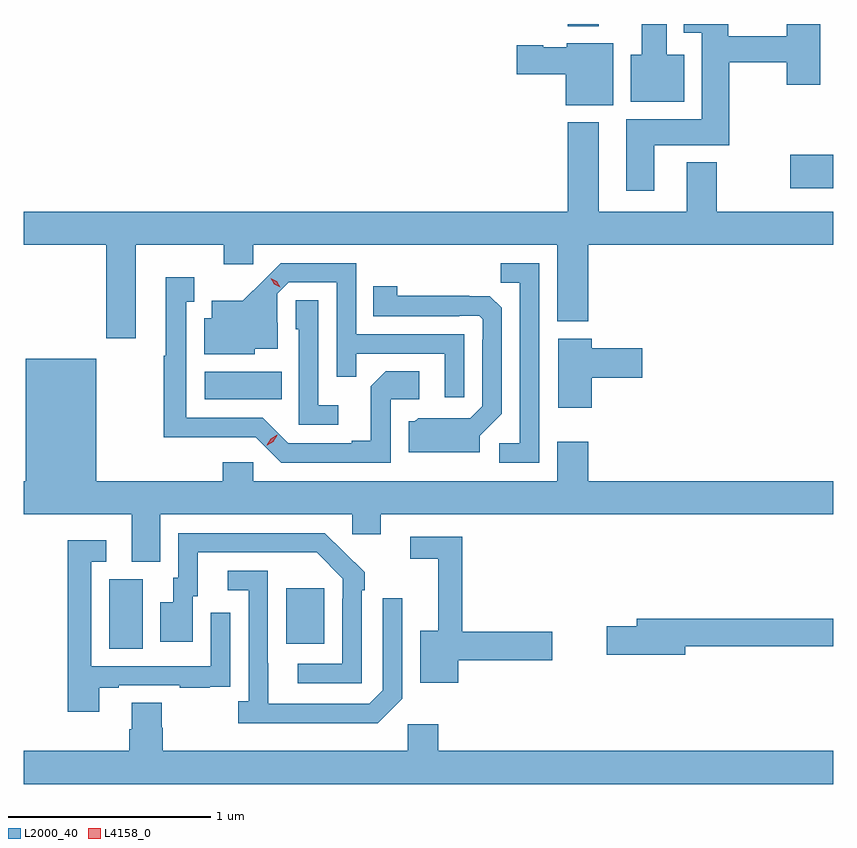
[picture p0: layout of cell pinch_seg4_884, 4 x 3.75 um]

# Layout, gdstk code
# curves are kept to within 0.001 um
import gdstk
lib = gdstk.Library(unit=1e-6, precision=1e-09)
def R(c, l, rs):  # rectangles x0, y0, x1, y1
    for r in rs: c.add(gdstk.rectangle(r[:2], r[2:], *l))
def P(c, l, *ps):  # polygons
    for p in ps: c.add(gdstk.Polygon(p, *l))
L2000_40 = (2000, 40)
L4158_0 = (4158, 0)

pinch_seg4_884 = lib.new_cell('pinch_seg4_884')
R(pinch_seg4_884, L2000_40, [(705.446,829.456,705.61,829.8), (706.319,829.481,706.507,829.756), (705.918,830.69,706.298,830.824), (708.81,831.731,709.023,831.897), (707.711,832.532,707.863,832.543)])
P(pinch_seg4_884, L2000_40, [(708.139,831.944),(708.509,831.944),(708.509,832.354),(708.793,832.354),(708.793,832.242),(708.958,832.242),(708.958,832.543),(708.793,832.543),(708.793,832.483),(708.504,832.483),(708.504,832.543),(708.284,832.543),(708.284,832.499),(708.374,832.499),(708.374,832.072),(707.999,832.072),(707.999,831.72),(708.139,831.72)],
  [(708.286,832.39),(708.199,832.39),(708.199,832.543),(708.077,832.543),(708.077,832.39),(708.023,832.39),(708.023,832.16),(708.286,832.16)],
  [(707.935,832.447),(707.706,832.447),(707.706,832.429),(707.589,832.429),(707.589,832.437),(707.46,832.437),(707.46,832.295),(707.702,832.295),(707.702,832.142),(707.935,832.142)],
  [(705.577,831.452),(706.012,831.452),(706.012,831.357),(706.158,831.357),(706.158,831.452),(707.66,831.452),(707.66,831.074),(707.813,831.074),(707.813,831.452),(709.023,831.452),(709.023,831.616),(708.447,831.616),(708.447,831.859),(708.299,831.859),(708.299,831.616),(707.863,831.616),(707.863,832.057),(707.711,832.057),(707.711,831.616),(705.023,831.616),(705.023,831.452),(705.43,831.452),(705.43,830.991),(705.577,830.991)],
  [(707.571,831.36),(707.38,831.36),(707.38,831.265),(707.475,831.265),(707.475,830.472),(707.373,830.472),(707.373,830.376),(707.571,830.376)],
  [(707.199,831.009),(706.665,831.009),(706.665,831.36),(706.292,831.36),(706.105,831.175),(705.953,831.175),(705.953,831.088),(705.914,831.088),(705.914,830.912),(706.164,830.912),(706.164,830.939),(706.279,830.939),(706.279,831.068),(706.275,831.068),(706.275,831.21),(706.332,831.267),(706.569,831.267),(706.569,830.8),(706.667,830.8),(706.667,830.913),(707.103,830.913),(707.103,830.7),(707.199,830.7)],
  [(706.836,830.688),(706.978,830.688),(706.978,830.828),(706.813,830.828),(706.737,830.752),(706.737,830.485),(706.643,830.485),(706.643,830.472),(706.329,830.472),(706.203,830.598),(705.826,830.598),(705.826,831.171),(705.865,831.171),(705.865,831.292),(705.725,831.292),(705.725,830.903),(705.715,830.903),(705.715,830.501),(706.17,830.502),(706.296,830.376),(706.836,830.376)],
  [(707.275,830.508),(707.385,830.618),(707.385,831.14),(707.326,831.199),(706.869,831.2),(706.869,831.247),(706.75,831.247),(706.75,831.099),(707.174,831.099),(707.174,831.102),(707.274,831.102),(707.292,831.084),(707.292,830.984),(707.289,830.984),(707.289,830.655),(707.229,830.595),(706.972,830.596),(706.956,830.58),(706.925,830.58),(706.925,830.426),(707.275,830.426)],
  [(706.576,830.659),(706.479,830.659),(706.479,831.179),(706.368,831.179),(706.368,831.036),(706.383,831.036),(706.383,830.562),(706.576,830.562)],
  [(707.83,830.795),(708.079,830.795),(708.079,830.942),(707.83,830.942),(707.83,830.989),(707.663,830.989),(707.663,830.646),(707.83,830.646)],
  [(705.697,830.12),(706.647,830.12),(706.647,830.022),(706.786,830.022),(706.786,830.12),(709.023,830.12),(709.023,830.284),(707.813,830.284),(707.813,830.479),(707.66,830.479),(707.66,830.284),(706.158,830.284),(706.158,830.377),(706.007,830.377),(706.007,830.284),(705.382,830.284),(705.382,830.89),(705.032,830.89),(705.032,830.284),(705.023,830.284),(705.023,830.12),(705.557,830.12),(705.557,829.885),(705.697,829.885)],
  [(706.692,829.745),(706.707,829.745),(706.707,829.833),(706.51,830.028),(705.786,830.028),(705.786,829.806),(705.761,829.806),(705.761,829.687),(705.698,829.687),(705.698,829.491),(705.859,829.491),(705.859,829.716),(705.883,829.716),(705.883,829.932),(706.471,829.932),(706.599,829.803),(706.599,829.703),(706.596,829.703),(706.596,829.383),(706.377,829.383),(706.377,829.287),(706.692,829.287)],
  [(707.17,829.399),(707.635,829.399),(707.635,829.541),(707.189,829.541),(707.189,830.01),(706.932,830.01),(706.932,829.902),(707.072,829.902),(707.072,829.546),(706.982,829.546),(706.982,829.289),(707.17,829.289)],
  [(705.397,829.263),(705.493,829.263),(705.493,829.275),(705.793,829.275),(705.793,829.263),(705.941,829.263),(705.941,829.269),(706.043,829.269),(706.043,829.378),(706.044,829.378),(706.044,829.633),(705.948,829.633),(705.948,829.371),(705.357,829.371),(705.357,829.887),(705.43,829.887),(705.43,829.993),(705.241,829.993),(705.241,829.146),(705.397,829.146)],
  [(706.893,829.209),(706.893,829.705),(706.797,829.705),(706.797,829.251),(706.731,829.185),(706.231,829.185),(706.23,829.842),(706.032,829.842),(706.032,829.746),(706.134,829.746),(706.134,829.198),(706.083,829.198),(706.083,829.088),(706.772,829.088)],
  [(708.292,829.468),(709.023,829.468),(709.023,829.604),(708.053,829.604),(708.053,829.568),(707.904,829.568),(707.904,829.426),(708.292,829.426)],
  [(705.557,829.19),(705.557,829.058),(705.545,829.058),(705.545,828.952),(705.023,828.952),(705.023,828.788),(709.023,828.788),(709.023,828.952),(707.072,828.952),(707.072,829.084),(706.92,829.084),(706.92,828.952),(705.71,828.952),(705.71,829.065),(705.705,829.065),(705.705,829.19)])
P(pinch_seg4_884, L4158_0, [(706.291,831.243),(706.26,831.258),(706.243,831.288),(706.243,831.288),(706.244,831.288),(706.274,831.273),(706.291,831.243),(706.291,831.243)],
  [(706.225,830.461),(706.225,830.461),(706.243,830.494),(706.275,830.513),(706.275,830.513),(706.275,830.512),(706.257,830.48),(706.226,830.461)])

lib.write_gds('pinch_seg4_884.gds')
